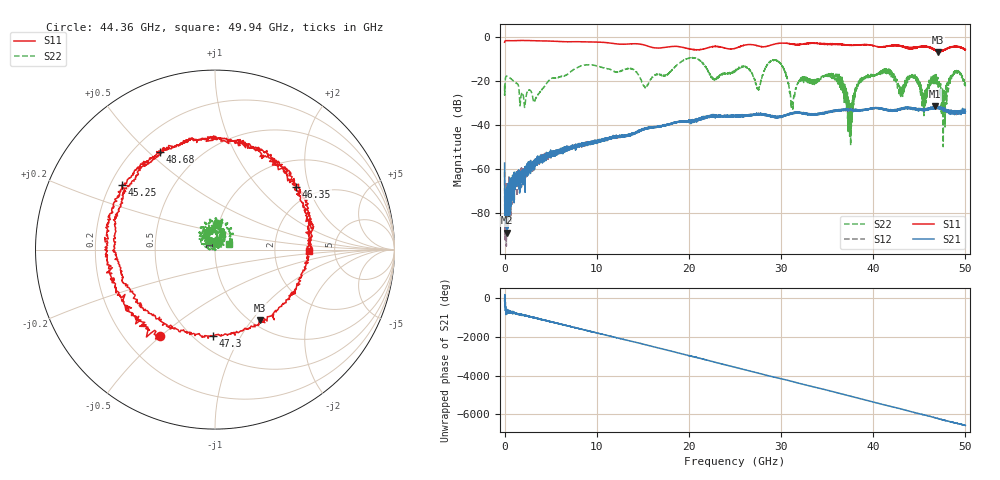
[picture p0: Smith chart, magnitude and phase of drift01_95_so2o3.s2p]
!Created with skrf (http://scikit-rf.org).
# Hz S RI R 50.0
!freq ReS11 ImS11 ReS21 ImS21 ReS12 ImS12 ReS22 ImS22
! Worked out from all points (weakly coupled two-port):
!   10001 points, 300 kHz to 50 GHz, reference 50 ohm
!   highest |S21| = -31.41 dB at 46.74 GHz (marker M1); lowest = -89.3 dB at 240.3 MHz (marker M2)
!   lowest |S11| = -6.6 dB at 47.07 GHz (marker M3), VSWR 2.74, Z = 54.6 - j54.8 ohm
!   |S11| at or under -10 dB: nowhere
!   |S22| runs from -49.9 to -9.2 dB; largest |S21 - S12| = 0.0034
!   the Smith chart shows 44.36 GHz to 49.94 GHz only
!   S11 on the Smith chart (normalised r, x): 44.36 GHz: 0.35, -0.50; 45.25 GHz: 0.25, +0.30; 46.35 GHz: 1.59, +1.66; 47.3 GHz: 0.61, -0.76; 48.68 GHz: 0.30, +0.54; 49.94 GHz: 3.21, -0.08
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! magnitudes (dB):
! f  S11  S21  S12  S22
! 300 kHz  -2.1  -57.4  -61.4  -22.0
! 240.3 MHz  -1.4  -89.3  -73.1  -17.7
! 3.29 GHz  -1.5  -57.8  -57.0  -28.9
! 8.335 GHz  -1.9  -49.0  -49.4  -12.9
! 16.67 GHz  -4.8  -40.8  -40.9  -16.7
! 25 GHz  -5.0  -35.9  -36.0  -15.5
! 29.59 GHz  -2.8  -36.3  -36.6  -10.7
! 31.25 GHz  -3.0  -34.7  -34.7  -31.5
! 33.34 GHz  -2.6  -34.9  -35.1  -20.0
! 36.06 GHz  -2.8  -33.2  -33.3  -19.2
! 37.47 GHz  -3.6  -33.1  -33.1  -40.3
! 38.67 GHz  -3.4  -33.1  -33.3  -20.2
! 41.67 GHz  -3.9  -33.3  -33.1  -15.2
! 44.36 GHz  -4.9  -32.7  -32.3  -17.0
! 45.25 GHz  -4.0  -32.9  -33.0  -24.3
! 46.35 GHz  -4.8  -32.7  -32.7  -19.8
! 46.74 GHz  -5.8  -31.4  -32.2  -19.8
! 47.07 GHz  -6.6  -32.5  -32.1  -23.3
! 47.3 GHz  -6.4  -32.5  -32.3  -21.5
! 48.68 GHz  -4.1  -34.2  -33.8  -16.6
! 49.94 GHz  -5.6  -33.7  -34.0  -21.4
! 50 GHz  -5.5  -33.9  -33.7  -21.6
